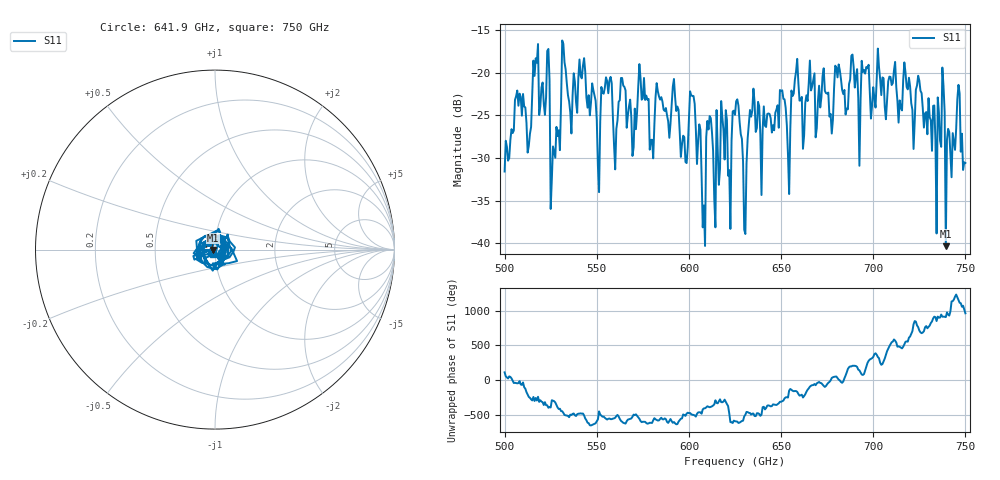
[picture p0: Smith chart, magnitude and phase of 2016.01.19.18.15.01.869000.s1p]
!Created with skrf (http://scikit-rf.org).
# GHz S RI R 50.0
!freq ReS11 ImS11
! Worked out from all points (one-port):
!   401 points, 500 GHz to 750 GHz, reference 50 ohm
!   lowest |S11| = -40.3 dB at 739.4 GHz (marker M1), VSWR 1.02, Z = 49.1 - j0.152 ohm
!   |S11| at or under -10 dB: start of sweep to end of sweep
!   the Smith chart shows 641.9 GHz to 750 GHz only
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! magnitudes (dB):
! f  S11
! 500 GHz  -31.6
! 506.9 GHz  -22.1
! 513.1 GHz  -28.6
! 516.9 GHz  -18.3
! 523.1 GHz  -17.5
! 526.2 GHz  -28.6
! 531.2 GHz  -16.2
! 541.9 GHz  -20.7
! 550.6 GHz  -30.9
! 553.8 GHz  -22.5
! 562.5 GHz  -23.2
! 593.8 GHz  -24.0
! 598.1 GHz  -30.5
! 601.9 GHz  -22.7
! 608.1 GHz  -35.6
! 610.6 GHz  -26.7
! 621.9 GHz  -31.4
! 625 GHz  -24.9
! 630.6 GHz  -38.9
! 634.4 GHz  -24.5
! 650.6 GHz  -22.1
! 653.8 GHz  -29.7
! 656.2 GHz  -22.7
! 687.5 GHz  -20.8
! 718.8 GHz  -22.0
! 739.4 GHz  -40.3
! 746.9 GHz  -22.4
! 750 GHz  -30.6
